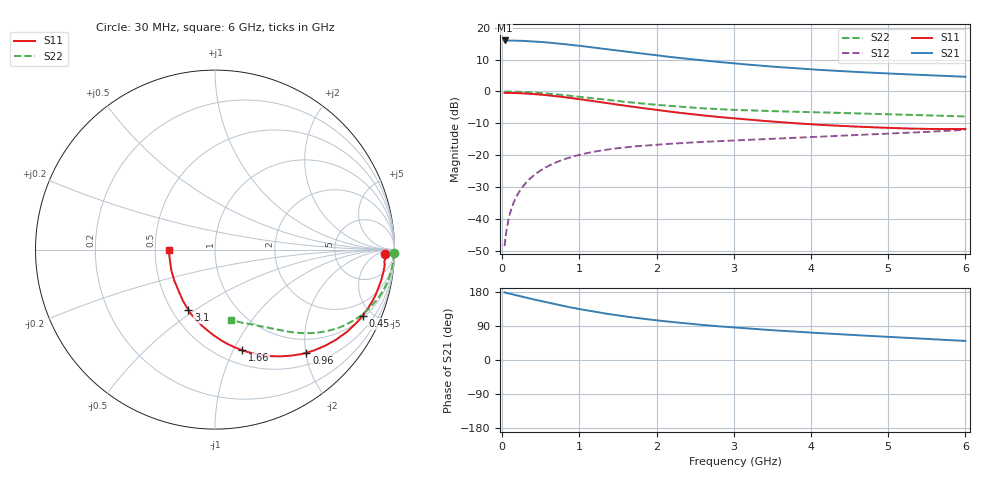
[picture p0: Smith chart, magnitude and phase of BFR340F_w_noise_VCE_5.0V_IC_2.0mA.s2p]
! Infineon Technologies  Discrete & RF Semiconductors
! BFR340F
! VCE =  5.0 V,  IC =  2.0 mA
! Common Emitter S-Parameters:  Nov 2015
# GHz  S  MA  R  50
!  f  S11  S21  S12  S22
! GHz  MAG  ANG  MAG  ANG  MAG  ANG  MAG  ANG
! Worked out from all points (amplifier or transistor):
!   206 points, 30 MHz to 6 GHz, reference 50 ohm
!   highest |S21| = 16.0 dB at 30 MHz (marker M1)
!   |S21| within 3 dB of that: start of sweep to 1.437 GHz
!   unconditionally stable (mu >= 1): 4.852 GHz to end of sweep
!   at 200 MHz: K = 0.06, MSG = 24.1 dB, |S12| = -32.3 dB
!   at 1.56 GHz: K = 0.49, MSG = 15.2 dB, |S12| = -17.7 dB
!   at 6 GHz: K = 1.03, MAG = 7.3 dB, |S12| = -12.1 dB
!   lowest NFmin = 0.79 dB at 450 MHz
!   S11 on the Smith chart (normalised r, x): 30 MHz: 30, -16; 450 MHz: 1.12, -4.39; 960 MHz: 0.72, -2.01; 1.66 GHz: 0.64, -1.08; 3.1 GHz: 0.60, -0.47; 6 GHz: 0.59, -0.00
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0.03  0.949 -1.6  6.325 178.4  0.0037 89.8  0.9963 -1.0
0.05  0.9462 -2.7  6.279 176.7  0.0061 88.6  0.996 -1.8
0.08  0.9472 -4.5  6.297 175.9  0.0097 86.9  0.9961 -2.9
0.155  0.9448 -8.5  6.28 172.1  0.0188 84.5  0.9917 -5.7
0.28  0.9305 -15.3  6.219 166.1  0.0336 80.6  0.9791 -10.1
0.45  0.9011 -24.2  6.052 157.9  0.0525 75.5  0.9529 -15.9
0.6  0.8671 -31.8  5.86 150.9  0.0678 71.0  0.9219 -20.6
0.7  0.8412 -36.6  5.711 146.4  0.0772 68.4  0.8991 -23.6
0.82  0.8079 -42.1  5.507 141.4  0.0874 65.4  0.8694 -26.9
0.96  0.7678 -48.4  5.278 135.9  0.0981 62.2  0.8338 -30.5
1.04  0.7449 -51.8  5.141 132.9  0.1036 60.6  0.8135 -32.4
1.3  0.672 -62.1  4.699 123.8  0.119 56.0  0.75 -37.8
1.48  0.6241 -68.8  4.412 118.2  0.1275 53.5  0.7095 -41.0
1.66  0.5806 -74.9  4.143 113.1  0.1347 51.4  0.673 -43.7
2.02  0.5081 -85.8  3.664 104.2  0.1463 48.5  0.6131 -48.2
2.26  0.4671 -92.6  3.394 99.1  0.1528 47.3  0.5811 -50.7
2.6  0.4199 -101.9  3.07 92.5  0.161 46.1  0.5434 -54.0
3.1  0.3686 -113.7  2.695 84.5  0.1715 45.6  0.5082 -57.8
3.5  0.3364 -122.1  2.453 78.6  0.1797 45.7  0.4899 -60.2
4.1  0.2996 -134.4  2.186 71.2  0.1933 46.7  0.4698 -63.0
5.1  0.2653 -157.9  1.89 59.8  0.2197 48.3  0.4336 -69.8
6  0.2571 -179.7  1.702 50.4  0.249 49.6  0.4047 -76.9
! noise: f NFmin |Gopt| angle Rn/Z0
0.45  0.79  0.7  4  0.44
0.9  0.8  0.67  13  0.47
1.9  1.11  0.54  23  0.41
2.4  1.2  0.51  33  0.4
